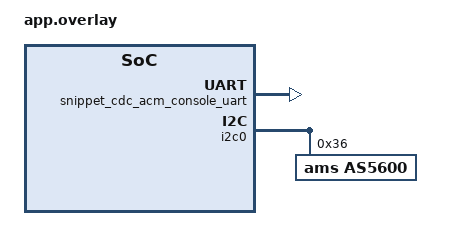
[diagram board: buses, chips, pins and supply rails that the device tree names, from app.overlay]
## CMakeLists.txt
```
# SPDX-License-Identifier: Apache-2.0

cmake_minimum_required(VERSION 3.20.0)
find_package(Zephyr REQUIRED HINTS $ENV{ZEPHYR_BASE})
project(encoder_board)

target_include_directories(app PRIVATE include)

target_sources(app PRIVATE src/main.c src/udp_server.c)
```

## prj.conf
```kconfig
CONFIG_LOG=y
CONFIG_SHELL=y

CONFIG_SENSOR=y
CONFIG_I2C=y

# =========== cdc-acm-console.conf =============

CONFIG_USB_DEVICE_STACK_NEXT=y
# CONFIG_CDC_ACM_SERIAL_INITIALIZE_AT_BOOT=y

CONFIG_SERIAL=y
CONFIG_CONSOLE=y
CONFIG_UART_CONSOLE=y
CONFIG_UART_LINE_CTRL=y

# ================= Network =====================

# General config
CONFIG_REQUIRES_FULL_LIBC=y

# Networking config
CONFIG_NETWORKING=y
CONFIG_NET_IPV4=y
CONFIG_NET_IPV6=n
CONFIG_NET_TCP=y
CONFIG_NET_SOCKETS=y
CONFIG_POSIX_API=y

# Network driver config
CONFIG_TEST_RANDOM_GENERATOR=y

# Network address config
CONFIG_NET_CONFIG_SETTINGS=y
CONFIG_NET_CONFIG_NEED_IPV4=y
CONFIG_NET_CONFIG_MY_IPV4_ADDR="192.0.2.1"
CONFIG_NET_CONFIG_PEER_IPV4_ADDR="192.0.2.2"

# Networking tweaks
# Required to handle large number of consecutive connections, e.g. when testing with ApacheBench.
CONFIG_NET_TCP_TIME_WAIT_DELAY=0


# This was to solve compile-time warnings. Might work without.
CONFIG_NET_CONFIG_AUTO_INIT=y
CONFIG_NET_CONFIG_INIT_PRIO=95
CONFIG_NET_CONFIG_NEED_IPV4=y

# Shell
CONFIG_SHELL=y
CONFIG_NET_SHELL=y
CONFIG_NET_STATISTICS=y


# =============== Ehternet USBD ====================

CONFIG_NET_L2_ETHERNET=y


CONFIG_NET_ARP=y
CONFIG_NET_ARP_TABLE_SIZE=2
CONFIG_NET_ARP_GRATUITOUS=y


CONFIG_UDC_DRIVER=y
CONFIG_UDC_BUF_COUNT=16
CONFIG_UDC_BUF_POOL_SIZE=1024
CONFIG_UDC_DRIVER_LOG_LEVEL_DEFAULT=y
# CONFIG_UDC_STM32_STACK_SIZE=1024
CONFIG_UDC_DRIVER_HIGH_SPEED_SUPPORT_ENABLED=n

CONFIG_USB_DEVICE_STACK_NEXT=y

CONFIG_USBD_LOG_LEVEL_DEFAULT=y
CONFIG_USBD_MAX_SPEED_FULL=y
CONFIG_USBD_BOS_SUPPORT=y
CONFIG_USBD_VREQ_SUPPORT=y
CONFIG_USBD_SHELL=y
CONFIG_USBD_THREAD_STACK_SIZE=1024
CONFIG_USBD_MAX_UDC_MSG=10
CONFIG_USBD_MSG_DEFERRED_MODE=y
CONFIG_USBD_MSG_SLAB_COUNT=8
CONFIG_USBD_MSG_WORK_DELAY=1
CONFIG_USBD_HWINFO_DEVID_LENGTH=16
CONFIG_USBD_CDC_NCM_CLASS=y
CONFIG_USBD_CDC_NCM_MAX_DGRAM_PER_NTB=2

CONFIG_USBD_CDC_NCM_LOG_LEVEL_DEFAULT=y

# To avoid stack overflow.
CONFIG_MAIN_STACK_SIZE=4096
CONFIG_USBD_THREAD_STACK_SIZE=4096
```

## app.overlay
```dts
/ {
	chosen {
		zephyr,console = &snippet_cdc_acm_console_uart;
		zephyr,shell-uart = &snippet_cdc_acm_console_uart;
	};
};

&zephyr_udc0 {
	snippet_cdc_acm_console_uart: snippet_cdc_acm_console_uart {
		compatible = "zephyr,cdc-acm-uart";
	};
};

/ {
    cdc_ncm_eth0: cdc_ncm_eth0 { // Do we need the label?
        compatible = "zephyr,cdc-ncm-ethernet";
        remote-mac-address = "00005E005301";  // Apparently any could work
    };
};


&i2c0 {
	as5600@36 {
		compatible = "ams,as5600";
		reg = <0x36>;
	};
};
```

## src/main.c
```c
#include <zephyr/kernel.h>

#include <zephyr/device.h>
#include <zephyr/drivers/sensor.h>
#include <zephyr/logging/log.h>

#include "udp_server.h"

LOG_MODULE_REGISTER(main, LOG_LEVEL_INF);


#define USBD_NODE DT_NODELABEL(usbd)
#if DT_NODE_HAS_STATUS(USBD_NODE, okay)

#include <zephyr/usb/usbd.h>
#include <zephyr/usb/usb_ch9.h> /* Contains USB_SCD_ macros */
/* 1. Define the Device Context */

USBD_DEVICE_DEFINE(my_usbd, 
                   DEVICE_DT_GET(USBD_NODE), 
                   0x0483, 0x0001);
/* 2. Define Basic String Descriptors */
USBD_DESC_LANG_DEFINE(my_lang);
USBD_DESC_MANUFACTURER_DEFINE(my_mfr, "Zephyr");
USBD_DESC_PRODUCT_DEFINE(my_prdc, "DD's NCM Network Interface");
/* 3. Define the Full-Speed Configuration */
USBD_DESC_CONFIG_DEFINE(my_cfg_desc, "Default Config");
/* Fixed macro: removed '_ATTRIBUTES_' from the constant name */
USBD_CONFIGURATION_DEFINE(my_fs_cfg, 
                          USB_SCD_SELF_POWERED, 
                          100, 
                          &my_cfg_desc);

int start_usb_networking(void)
{
    int err;
    struct usbd_context *ctx = &my_usbd;
    /* Add Mandatory String Descriptors */
    usbd_add_descriptor(ctx, &my_lang);
    usbd_add_descriptor(ctx, &my_mfr);
    usbd_add_descriptor(ctx, &my_prdc);
    /* Setup Device Triple for IAD (Required for CDC NCM/Compound devices) */
    /* 0xEF = Miscellaneous, 0x02 = Common Class, 0x01 = Interface Association */
    usbd_device_set_code_triple(ctx, USBD_SPEED_FS, 0xEF, 0x02, 0x01);
    /* Bind Configuration and Register NCM Class */
    err = usbd_add_configuration(ctx, USBD_SPEED_FS, &my_fs_cfg);
    if (err) return err;
    /* Register all classes enabled in prj.conf (e.g. CDC NCM) */
    err = usbd_register_all_classes(ctx, USBD_SPEED_FS, 1, NULL);
    if (err) return err;    /* Initialize and Fire it up */

    /* Initialize and Fire it up */
    err = usbd_init(ctx);
    if (err) return err;

    return usbd_enable(ctx);
}
#endif


int main(void)
{
    LOG_INF("Hello from Zephyr application!");
    int err = start_usb_networking();
    if (err) {
        LOG_ERR("USB Init Failed with error: %d", err);
    }
    else {
        LOG_INF("USB Init Succeeded.");
    }

    if (udp_server_init() != 0) {
        LOG_ERR("Failed to initialize UDP server");
        return 0;
    }


    /* Get the device binding using the compatible string */
    const struct device *const as5600_dev = DEVICE_DT_GET_ANY(ams_as5600);
    struct sensor_value rotation;
    int rc;

    if (as5600_dev == NULL) {
        LOG_ERR("No device found with compatible 'ams,as5600'");
        return 0;
    }

    if (!device_is_ready(as5600_dev)) {
        LOG_ERR("Device %s is not ready", as5600_dev->name);
        return 0;
    }

    LOG_INF("Successfully initialized AS5600 device: %s", as5600_dev->name);

    while (1) {
        /* Fetch the latest sample from the sensor */
        rc = sensor_sample_fetch(as5600_dev);
        
        if (rc != 0) {
            LOG_ERR("Sensor fetch failed or magnet issue: %d", rc);
        } else {
            /* Retrieve the rotation data */
            rc = sensor_channel_get(as5600_dev, SENSOR_CHAN_ROTATION, &rotation);
            if (rc == 0) {
                /* val1 contains the integer part (degrees), val2 contains the fractional part (micro-degrees) */
                // LOG_INF("Rotation: %d.%06d degrees", rotation.val1, rotation.val2);
                udp_server_send(&rotation, sizeof(rotation));
            } else {
                LOG_ERR("Failed to get sensor channel data: %d", rc);
            }
        }

        /* Wait 1 millisecondss before reading again */
        k_msleep(1);
    }
}
```

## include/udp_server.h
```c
#ifndef UDP_SERVER_H
#define UDP_SERVER_H

#include <stddef.h>

#define DEST_ADDR "255.255.255.255"
#define SERVER_PORT 5005

int udp_server_init(void);

int udp_server_send(const void *data, size_t len);

#endif /* UDP_SERVER_H */
```

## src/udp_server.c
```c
#include "udp_server.h"
#include <zephyr/net/socket.h>
#include <arpa/inet.h>

static int sock = -1;
static struct sockaddr_in destination_addr;

int udp_server_init(void)
{
    sock = socket(AF_INET, SOCK_DGRAM, IPPROTO_UDP);
    if (sock < 0) {
        return -1;
    }

    destination_addr.sin_family = AF_INET;
    destination_addr.sin_port = htons(SERVER_PORT);
    inet_pton(AF_INET, DEST_ADDR, &destination_addr.sin_addr);

    return 0;
}

int udp_server_send(const void *data, size_t len)
{
    if (sock < 0) {
        return -1;
    }

    return sendto(sock, data, len, 0, 
                  (struct sockaddr *)&destination_addr, 
                  sizeof(destination_addr));
}
```
